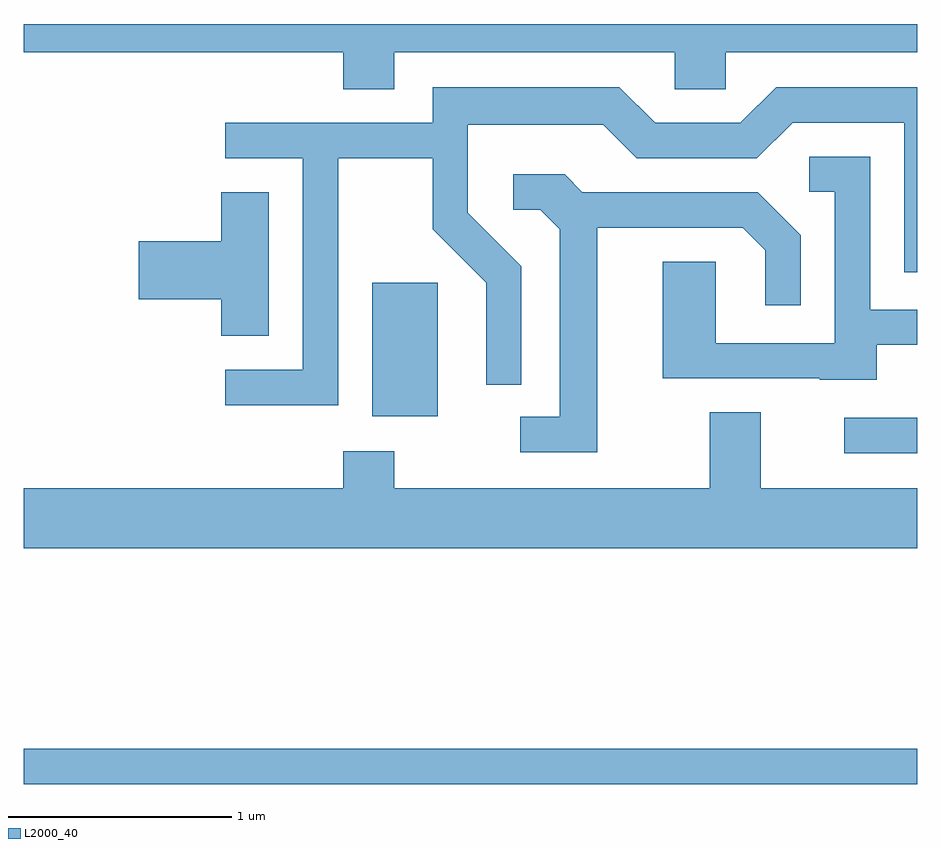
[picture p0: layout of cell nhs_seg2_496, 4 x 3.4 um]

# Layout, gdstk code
import gdstk
lib = gdstk.Library(unit=1e-6, precision=1e-09)
def R(c, l, rs):  # rectangles x0, y0, x1, y1
    for r in rs: c.add(gdstk.rectangle(r[:2], r[2:], *l))
def P(c, l, *ps):  # polygons
    for p in ps: c.add(gdstk.Polygon(p, *l))
L2000_40 = (2000, 40)

nhs_seg2_496 = lib.new_cell('nhs_seg2_496')
R(nhs_seg2_496, L2000_40, [(199.611,1018.401,203.611,1018.559), (203.283,1019.881,203.611,1020.039), (201.171,1020.046,201.464,1020.644)])
P(nhs_seg2_496, L2000_40, [(201.269,1021.676),(202.526,1021.676),(202.526,1021.511),(202.754,1021.511),(202.754,1021.676),(203.611,1021.676),(203.611,1021.802),(199.611,1021.802),(199.611,1021.676),(201.041,1021.676),(201.041,1021.511),(201.269,1021.511)],
  [(201.019,1021.201),(201.441,1021.201),(201.441,1020.884),(201.681,1020.644),(201.681,1020.188),(201.839,1020.188),(201.839,1020.717),(201.599,1020.957),(201.599,1021.351),(202.204,1021.351),(202.354,1021.201),(202.892,1021.201),(203.052,1021.361),(203.551,1021.361),(203.551,1020.691),(203.611,1020.691),(203.611,1021.519),(202.979,1021.519),(202.819,1021.359),(202.437,1021.359),(202.277,1021.519),(201.441,1021.519),(201.441,1021.359),(200.513,1021.359),(200.513,1021.201),(200.861,1021.201),(200.861,1020.254),(200.513,1020.254),(200.513,1020.096),(201.019,1020.096)],
  [(203.429,1020.366),(203.611,1020.366),(203.611,1020.524),(203.399,1020.524),(203.399,1021.209),(203.128,1021.209),(203.128,1021.051),(203.241,1021.051),(203.241,1020.374),(202.709,1020.374),(202.709,1020.739),(202.471,1020.739),(202.471,1020.216),(203.175,1020.216),(203.175,1020.211),(203.429,1020.211)],
  [(202.179,1020.891),(202.829,1020.891),(202.931,1020.789),(202.931,1020.543),(203.089,1020.543),(203.089,1020.857),(202.897,1021.049),(202.112,1021.049),(202.032,1021.129),(201.803,1021.129),(201.803,1020.971),(201.924,1020.971),(202.011,1020.884),(202.011,1020.044),(201.833,1020.044),(201.833,1019.886),(202.179,1019.886)],
  [(200.709,1021.049),(200.496,1021.049),(200.496,1020.829),(200.126,1020.829),(200.126,1020.571),(200.496,1020.571),(200.496,1020.406),(200.709,1020.406)],
  [(203.611,1019.724),(202.909,1019.724),(202.909,1020.064),(202.681,1020.064),(202.681,1019.724),(201.269,1019.724),(201.269,1019.889),(201.041,1019.889),(201.041,1019.724),(199.611,1019.724),(199.611,1019.456),(203.611,1019.456)])

lib.write_gds('nhs_seg2_496.gds')
